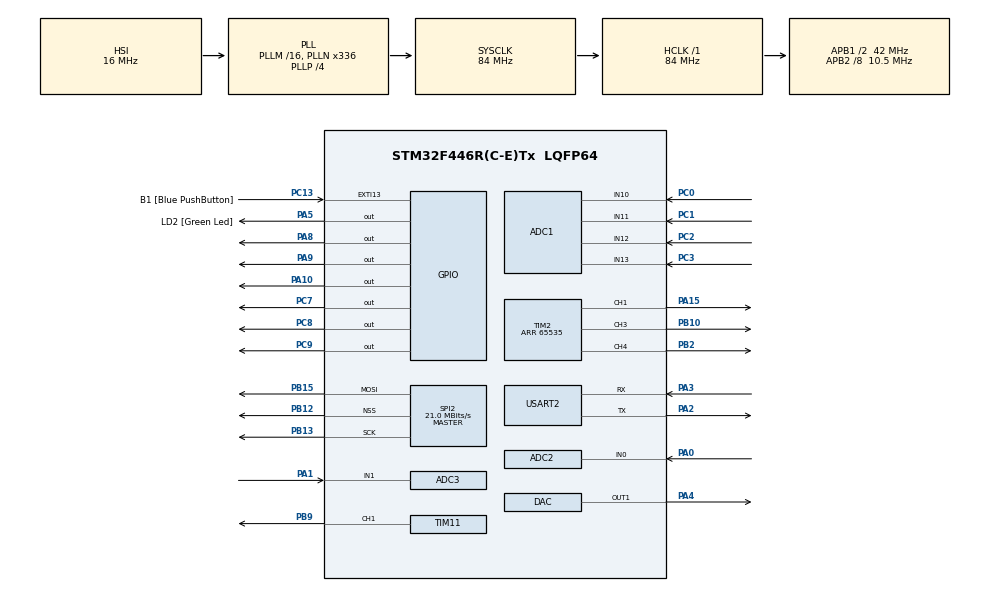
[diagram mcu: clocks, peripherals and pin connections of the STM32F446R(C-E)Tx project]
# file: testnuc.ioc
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ADC1.Channel-0\#ChannelRegularConversion=ADC_CHANNEL_10
ADC1.Channel-4\#ChannelRegularConversion=ADC_CHANNEL_11
ADC1.Channel-5\#ChannelRegularConversion=ADC_CHANNEL_12
ADC1.Channel-6\#ChannelRegularConversion=ADC_CHANNEL_13
ADC1.Channel-7\#ChannelRegularConversion=ADC_CHANNEL_TEMPSENSOR
ADC1.ContinuousConvMode=DISABLE
ADC1.DiscontinuousConvMode=ENABLE
ADC1.InjNumberOfConversion=0
ADC1.NbrOfConversion=5
ADC1.NbrOfConversionFlag=1
ADC1.Rank-4\#ChannelRegularConversion=2
ADC1.Rank-5\#ChannelRegularConversion=3
ADC1.Rank-6\#ChannelRegularConversion=4
ADC1.Rank-7\#ChannelRegularConversion=5
ADC1.SamplingTime-0\#ChannelRegularConversion=ADC_SAMPLETIME_144CYCLES
ADC1.SamplingTime-4\#ChannelRegularConversion=ADC_SAMPLETIME_144CYCLES
ADC1.SamplingTime-5\#ChannelRegularConversion=ADC_SAMPLETIME_3CYCLES
ADC1.SamplingTime-6\#ChannelRegularConversion=ADC_SAMPLETIME_3CYCLES
ADC1.SamplingTime-7\#ChannelRegularConversion=ADC_SAMPLETIME_480CYCLES
ADC1.master=1
ADC2.Channel-0\#ChannelRegularConversion=ADC_CHANNEL_0
ADC2.ClockPrescaler=ADC_CLOCK_SYNC_PCLK_DIV2
ADC2.ContinuousConvMode=ENABLE
ADC2.DMAContinuousRequests=ENABLE
ADC2.NbrOfConversionFlag=1
ADC2.Rank-0\#ChannelRegularConversion=1
ADC2.SamplingTime-0\#ChannelRegularConversion=ADC_SAMPLETIME_28CYCLES
ADC3.Channel-0\#ChannelRegularConversion=ADC_CHANNEL_1
ADC3.NbrOfConversionFlag=1
ADC3.Rank-0\#ChannelRegularConversion=1
ADC3.SamplingTime-0\#ChannelRegularConversion=ADC_SAMPLETIME_3CYCLES
Dma.ADC1.0.Direction=DMA_PERIPH_TO_MEMORY
Dma.ADC1.0.FIFOMode=DMA_FIFOMODE_DISABLE
Dma.ADC1.0.Instance=DMA2_Stream0
Dma.ADC1.0.MemDataAlignment=DMA_MDATAALIGN_WORD
Dma.ADC1.0.MemInc=DMA_MINC_ENABLE
Dma.ADC1.0.Mode=DMA_CIRCULAR
Dma.ADC1.0.PeriphDataAlignment=DMA_PDATAALIGN_WORD
Dma.ADC1.0.PeriphInc=DMA_PINC_DISABLE
Dma.ADC1.0.Priority=DMA_PRIORITY_LOW
Dma.ADC2.1.Direction=DMA_PERIPH_TO_MEMORY
Dma.ADC2.1.FIFOMode=DMA_FIFOMODE_DISABLE
Dma.ADC2.1.Instance=DMA2_Stream2
Dma.ADC2.1.MemDataAlignment=DMA_MDATAALIGN_WORD
Dma.ADC2.1.MemInc=DMA_MINC_ENABLE
Dma.ADC2.1.Mode=DMA_CIRCULAR
Dma.ADC2.1.PeriphDataAlignment=DMA_PDATAALIGN_WORD
Dma.ADC2.1.PeriphInc=DMA_PINC_DISABLE
Dma.ADC2.1.Priority=DMA_PRIORITY_LOW
Dma.Request0=ADC1
Dma.Request1=ADC2
Mcu.Family=STM32F4
Mcu.Name=STM32F446R(C-E)Tx
Mcu.Package=LQFP64
NVIC.DMA2_Stream0_IRQn=true\:0\:0\:false\:false\:true\:false\:true\:true
NVIC.DMA2_Stream2_IRQn=true\:0\:0\:false\:false\:true\:false\:true\:true
NVIC.PriorityGroup=NVIC_PRIORITYGROUP_0
PA0-WKUP.Signal=ADCx_IN0
PA1.Signal=ADCx_IN1
PA10.Signal=GPIO_Output
PA13.GPIO_Label=TMS
PA13.Mode=Serial_Wire
PA13.Signal=SYS_JTMS-SWDIO
PA14.GPIO_Label=TCK
PA14.Mode=Serial_Wire
PA14.Signal=SYS_JTCK-SWCLK
PA15.Signal=S_TIM2_CH1_ETR
PA2.GPIO_ModeDefaultPP=GPIO_MODE_AF_PP
PA2.GPIO_PuPd=GPIO_NOPULL
PA2.GPIO_Speed=GPIO_SPEED_FREQ_VERY_HIGH
PA2.Mode=Asynchronous
PA2.Signal=USART2_TX
PA3.GPIO_ModeDefaultPP=GPIO_MODE_AF_PP
PA3.GPIO_PuPd=GPIO_NOPULL
PA3.GPIO_Speed=GPIO_SPEED_FREQ_VERY_HIGH
PA3.Mode=Asynchronous
PA3.Signal=USART2_RX
PA4.Signal=COMP_DAC1_group
PA5.GPIO_Label=LD2 [Green Led]
PA5.Signal=GPIO_Output
PA8.Signal=GPIO_Output
PA9.Signal=GPIO_Output
PB10.Signal=S_TIM2_CH3
PB12.Mode=NSS_Signal_Hard_Output
PB12.Signal=SPI2_NSS
PB13.Mode=TX_Only_Simplex_Unidirect_Master
PB13.Signal=SPI2_SCK
PB14.Signal=SPI2_MISO
PB15.Mode=TX_Only_Simplex_Unidirect_Master
PB15.Signal=SPI2_MOSI
PB2.Signal=S_TIM2_CH4
PB3.GPIO_Label=SWO
PB3.Signal=SYS_JTDO-SWO
PB9.Signal=S_TIM11_CH1
PC0.Signal=SharedAnalog_PC0
PC1.Signal=SharedAnalog_PC1
PC13.GPIO_Label=B1 [Blue PushButton]
PC13.GPIO_ModeDefaultEXTI=GPIO_MODE_IT_FALLING
PC13.Signal=GPXTI13
PC14-OSC32_IN.Mode=LSE-External-Oscillator
PC14-OSC32_IN.Signal=RCC_OSC32_IN
PC15-OSC32_OUT.Mode=LSE-External-Oscillator
PC15-OSC32_OUT.Signal=RCC_OSC32_OUT
PC2.Signal=ADCx_IN12
PC3.Signal=ADCx_IN13
PC7.Signal=GPIO_Output
PC8.Signal=GPIO_Output
PC9.Signal=GPIO_Output
PH0-OSC_IN.Mode=HSE-External-Oscillator
PH0-OSC_IN.Signal=RCC_OSC_IN
PH1-OSC_OUT.Mode=HSE-External-Oscillator
PH1-OSC_OUT.Signal=RCC_OSC_OUT
ProjectManager.HeapSize=0x200
ProjectManager.StackSize=0x400
ProjectManager.TargetToolchain=STM32CubeIDE
RCC.48MHZClocksFreq_Value=84000000
RCC.AHBFreq_Value=84000000
RCC.APB1CLKDivider=RCC_HCLK_DIV2
RCC.APB1Freq_Value=42000000
RCC.APB1TimFreq_Value=84000000
RCC.APB2CLKDivider=RCC_HCLK_DIV8
RCC.APB2Freq_Value=10500000
RCC.APB2TimFreq_Value=21000000
RCC.CortexFreq_Value=84000000
RCC.FLatency-AdvancedSettings=FLASH_LATENCY_2
RCC.HCLKFreq_Value=84000000
RCC.HSE_VALUE=8000000
RCC.HSI_VALUE=16000000
RCC.PLLN=336
RCC.PLLP=RCC_PLLP_DIV4
RCC.SYSCLKFreq_VALUE=84000000
RCC.SYSCLKSource=RCC_SYSCLKSOURCE_PLLCLK
RCC.USBFreq_Value=168000000
RCC.VCOOutputFreq_Value=336000000
SH.ADCx_IN0.0=ADC2_IN0,IN0
SH.ADCx_IN1.0=ADC3_IN1,IN1
SH.ADCx_IN12.0=ADC1_IN12,IN12
SH.ADCx_IN13.0=ADC1_IN13,IN13
SH.COMP_DAC1_group.0=DAC_OUT1,DAC_OUT1
SH.S_TIM11_CH1.0=TIM11_CH1,PWM Generation1 CH1
SH.S_TIM2_CH1_ETR.0=TIM2_CH1,PWM Generation1 CH1
SH.S_TIM2_CH3.0=TIM2_CH3,PWM Generation3 CH3
SH.S_TIM2_CH4.0=TIM2_CH4,PWM Generation4 CH4
SH.SharedAnalog_PC0.0=GPIO_Analog
SH.SharedAnalog_PC0.1=ADC1_IN10,IN10
SH.SharedAnalog_PC1.0=GPIO_Analog
SH.SharedAnalog_PC1.1=ADC1_IN11,IN11
SPI2.CalculateBaudRate=21.0 MBits/s
SPI2.Direction=SPI_DIRECTION_2LINES
SPI2.Mode=SPI_MODE_MASTER
SPI2.VirtualNSS=VM_NSSHARD
SPI2.VirtualType=VM_MASTER
TIM11.AutoReloadPreload=TIM_AUTORELOAD_PRELOAD_ENABLE
TIM11.Channel=TIM_CHANNEL_1
TIM11.Period=2000
TIM11.Prescaler=71
TIM2.AutoReloadPreload=TIM_AUTORELOAD_PRELOAD_ENABLE
TIM2.Channel-PWM\ Generation1\ CH1=TIM_CHANNEL_1
TIM2.Channel-PWM\ Generation3\ CH3=TIM_CHANNEL_3
TIM2.Channel-PWM\ Generation4\ CH4=TIM_CHANNEL_4
TIM2.Period=65535
USART2.VirtualMode=VM_ASYNC
VP_ADC1_TempSens_Input.Mode=IN-TempSens
VP_ADC1_Vref_Input.Mode=IN-Vrefint
VP_TIM11_VS_ClockSourceINT.Mode=Enable_Timer
board=NUCLEO-F446RE

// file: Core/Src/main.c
/* USER CODE BEGIN Header */
/**
  ******************************************************************************
  * @file           : main.c
  * @brief          : Main program body
  ******************************************************************************
  * @attention
  *
  * Copyright (c) 2025 STMicroelectronics.
  * All rights reserved.
  *
  * This software is licensed under terms that can be found in the LICENSE file
  * in the root directory of this software component.
  * If no LICENSE file comes with this software, it is provided AS-IS.
  *
  ******************************************************************************
  */
/* USER CODE END Header */
#include "main.h"

/* USER CODE BEGIN Includes */
#include <stdio.h>
#include <math.h>
#include "arm_math.h"
#include "toggle_pins.h"
#include "temperature.h"
#include "calculate_angles.h"
// Ensure the USART handle is included
/* USER CODE END Includes */

/* USER CODE BEGIN PTD */
#define MAX_CANDIDATES 10
typedef struct {
    float rsia;
    float rsib;
} RSIValues;
typedef struct {
    float freq_est;   // Przybliżona częstotliwość odbieranego sygnału
    uint16_t dac_setting;  // Nastawienie DAC
    float vco_temp;   // Temperatura VCO
    float amp_1khz;   // Amplituda składowej 1 kHz
    float mean_amp;   // Średnia amplituda składowych
    float ratio;
} Candidate;

Candidate candidate_list[MAX_CANDIDATES];  // Tablica do zapisu
int candidate_count = 0;
uint32_t AD_RES_BUFFER[5];

uint16_t AD_RES = 0;
uint32_t tab[512];
float tab_ADC[FFT_SIZE];
float fft_input[2*FFT_SIZE];
float fft_output[FFT_SIZE ];
float fft_amplitude[FFT_SIZE/2];
float temper;
uint32_t dac_value;

#define FFT_SIZE 512
#define SAMPLE_RATE  128000

#define V25      0.76f  // V25 w Voltach
#define AVG_SLOPE 0.0025f  // 2.5mV/°C = 0.0025 V/°C

#define R25 10000.0f
#define B_COEFFICIENT 3971.0f
#define T25 298.15f
#define VCC 3.3f
#define R_FIXED 10000.0f

#define delta_err 0.0
#define Uoh 2.9f
/* USER CODE END PTD */

ADC_HandleTypeDef hadc1;
ADC_HandleTypeDef hadc2;
ADC_HandleTypeDef hadc3;
DMA_HandleTypeDef hdma_adc1;
DMA_HandleTypeDef hdma_adc2;

DAC_HandleTypeDef hdac;

SPI_HandleTypeDef hspi2;

TIM_HandleTypeDef htim2;
TIM_HandleTypeDef htim11;

UART_HandleTypeDef huart2;

/* USER CODE BEGIN PV */
int _write(int file, char *ptr, int len)
{
    if (HAL_UART_Transmit(&huart2, (uint8_t *)ptr, len, HAL_MAX_DELAY) != HAL_OK)
    {
        return -1;
    }
    return len;
}

/* USER CODE END PV */

void SystemClock_Config(void);
static void MX_GPIO_Init(void);
static void MX_DMA_Init(void);
static void MX_USART2_UART_Init(void);
static void MX_ADC1_Init(void);
static void MX_DAC_Init(void);
static void MX_TIM2_Init(void);
static void MX_ADC2_Init(void);
static void MX_ADC3_Init(void);
static void MX_TIM11_Init(void);
static void MX_SPI2_Init(void);
/* USER CODE BEGIN PFP */
float read_voltage(ADC_HandleTypeDef *hadc, uint32_t channel);
/* USER CODE END PFP */

/* USER CODE BEGIN 0 */
float read_voltage(ADC_HandleTypeDef *hadc, uint32_t channel) {
    ADC_ChannelConfTypeDef sConfig = {0};
    sConfig.Channel = channel;

    sConfig.SamplingTime = ADC_SAMPLETIME_3CYCLES;

    if (HAL_ADC_ConfigChannel(hadc, &sConfig) != HAL_OK) {
        Error_Handler();
    }

    HAL_ADC_Start(hadc);
    if (HAL_ADC_PollForConversion(hadc, HAL_MAX_DELAY) == HAL_OK) {
        uint32_t adcValue = HAL_ADC_GetValue(hadc);
        float voltage = (adcValue * 3.3) / 4096;
        return voltage;
    }
    HAL_ADC_Stop(hadc);

    return 0;
}

RSIValues read_rsi_values_scan(ADC_HandleTypeDef *hadc)
{
    RSIValues results = {0};

    HAL_ADC_Start(hadc);

    // Oczekiwanie na zakończenie konwersji skanowania
    if (HAL_ADC_PollForConversion(hadc, HAL_MAX_DELAY) == HAL_OK)
    {
        // Pierwszy wynik: RSIA (ADC_CHANNEL_10)
        uint32_t adcValue = HAL_ADC_GetValue(hadc);
        results.rsia = (adcValue * 3.3f) / 4095.0f;
    }

    if (HAL_ADC_PollForConversion(hadc, HAL_MAX_DELAY) == HAL_OK)
    {
        // Drugi wynik: RSIB (ADC_CHANNEL_11)
        uint32_t adcValue = HAL_ADC_GetValue(hadc);
        results.rsib = (adcValue * 3.3f) / 4095.0f;
    }

    HAL_ADC_Stop(hadc);

    return results;
}

void perform_fft(void) {
    // Initialize RFFT instance
    arm_rfft_fast_instance_f32 S;
    if (arm_rfft_fast_init_f32(&S, FFT_SIZE) != ARM_MATH_SUCCESS) {
        printf("FFT Initialization Error!\n\r");
        return;
    }

    for (int i = 3;i<FFT_SIZE -3;i++){
    	tab_ADC[i]=(tab_ADC[i-2]+tab_ADC[i-1]+tab_ADC[i]+tab_ADC[i+1]+tab_ADC[i+2])/5;
    }

    arm_rfft_fast_f32(&S, tab_ADC, fft_output, 0);

    arm_cmplx_mag_f32(fft_output, fft_amplitude, FFT_SIZE / 2);

    // Find the dominant frequency
    float max_amplitude = 0.0f;
    uint32_t max_index = 0;
    for (int i = 2; i < FFT_SIZE / 2; i++) {
        if (fft_amplitude[i] > max_amplitude) {
            max_amplitude = fft_amplitude[i];
            max_index = i;
        }
    }
    float amplitude_sum = 0;
    for (int i = 0; i < FFT_SIZE / 2; i++) {
    	amplitude_sum+= fft_amplitude[i];

    }
	float average_amplitude = amplitude_sum/FFT_SIZE;
	printf("Amplitude: %.3f,", max_amplitude/average_amplitude);
    // Compute the dominant frequency
    float dominant_frequency = (float)max_index * SAMPLE_RATE / FFT_SIZE;

    //printf("Dominant Frequency: %.2f Hz,/t Amplitude: %.3f\n\r", dominant_frequency, max_amplitude);
    printf("Max_AMplitude: %.3f,", max_amplitude);
    printf("Frequency: %.3f, ", dominant_frequency);

}

void analyze_fft_results(void) {
    int idx_1khz = (1000 * FFT_SIZE) / SAMPLE_RATE;

    float mean_amp = 0.0f;
    for (int i = 1; i < FFT_SIZE / 2; i++) {
        mean_amp += fft_amplitude[i];
    }
    mean_amp /= (FFT_SIZE / 2 - 1);

    float amp_1khz = fft_amplitude[idx_1khz];
    float ratio = amp_1khz / mean_amp;

    if (candidate_count < MAX_CANDIDATES) {

        candidate_list[candidate_count].freq_est = (float) idx_1khz * SAMPLE_RATE / FFT_SIZE;
        candidate_list[candidate_count].dac_setting = HAL_DAC_GetValue(&hdac, DAC_CHANNEL_1);
        candidate_list[candidate_count].vco_temp = read_voltage(&hadc3, ADC_CHANNEL_1);
        candidate_list[candidate_count].amp_1khz = amp_1khz;
        candidate_list[candidate_count].mean_amp = mean_amp;
        candidate_list[candidate_count].ratio = ratio;
        candidate_count++;
    } else {
        int worst_index = 0;
        float min_ratio = candidate_list[0].ratio;
        for (int i = 1; i < MAX_CANDIDATES; i++) {
            if (candidate_list[i].ratio < min_ratio) {
                min_ratio = candidate_list[i].ratio;
                worst_index = i;
            }
        }

        if (ratio > min_ratio) {
            candidate_list[worst_index].freq_est = (float) idx_1khz * SAMPLE_RATE / FFT_SIZE;
            candidate_list[worst_index].dac_setting = HAL_DAC_GetValue(&hdac, DAC_CHANNEL_1);
            candidate_list[worst_index].vco_temp = read_voltage(&hadc3, ADC_CHANNEL_1);
            candidate_list[worst_index].amp_1khz = amp_1khz;
            candidate_list[worst_index].mean_amp = mean_amp;
            candidate_list[worst_index].ratio = ratio;
        }
    }

    //printf("Lista najlepszych kandydatów:\n\r");
    for (int i = 0; i < candidate_count; i++) {
        /*printf("[%d] f=%.2f Hz, DAC=%d, Temp=%.2f, Amp1kHz=%.2f, MeanAmp=%.2f, R=%.2f\n\r",
               i,
               candidate_list[i].freq_est,
               candidate_list[i].dac_setting,
               candidate_list[i].vco_temp,
               candidate_list[i].amp_1khz,
               candidate_list[i].mean_amp,
               candidate_list[i].ratio);*/
    }
}
void Read_CPU_Temperature_DMA(void) {
    uint32_t rawValue = AD_RES_BUFFER[3];
    //printf("%lu\n\r",AD_RES_BUFFER[3]);
    float v_sense = ((float)rawValue * 3.3f) / 4095.0f;  // Przeliczenie ADC na napięcie
    //printf("v_sense %f.......",v_sense);
    float temperature = ((v_sense - V25) / AVG_SLOPE) + 25.0f;

    //printf("CPU Temp: %.2f°C\n\r", temperature);
    temper=temperature;
}

void Heater_On(void) {
    printf("Grzałka ON\n\r");
    HAL_GPIO_WritePin(GPIOC, GPIO_PIN_12, GPIO_PIN_SET);  // Turn on heater
}

void Heater_Off(void) {
    printf("Grzałka OFF\n\r");
    HAL_GPIO_WritePin(GPIOC, GPIO_PIN_12, GPIO_PIN_RESET);  // Turn off heater
}

float Get_Thermistor_Resistance(float v_out) {
    return R_FIXED * (v_out / (VCC - v_out));
}

float Convert_Resistance_To_Temperature(float r_therm) {
    float temperature_kelvin = B_COEFFICIENT /
        (log(r_therm / R25) + (B_COEFFICIENT / T25));
    return temperature_kelvin - 273.15f;  // Conversion to °C
}

float Read_Thermistor_Temperature(void) {
    float v_out = AD_RES_BUFFER[1] ;
    float v_out1 = 0.9416f*((AD_RES_BUFFER[1] * 3.3f) / 4095.0f);
    float r_therm = Get_Thermistor_Resistance(v_out1);
    float temp_celsius = Convert_Resistance_To_Temperature(r_therm);  // Oblicz temperaturę

    //printf("Vout: %.3fV, Rtherm: %.1fΩ, Temp: %.2f°C\n\r", v_out, r_therm, temp_celsius);

    return temp_celsius;
}

void Control_Heater(void) {
    float current_temp = Read_Thermistor_Temperature();
    float target_temp = temper+2.0f;
    //printf("Current temp: %.2f°C, Target: %.2f°C\n\r", current_temp, target_temp);

    if (current_temp < target_temp) {
        //Heater_On();
    } else {
        //Heater_Off();
    }

}

void Servo_SetAngle(int8_t angle) {
    if (angle < -90) angle = -90;
    if (angle > 90) angle = 90;

    uint16_t pulse = 500 + ((angle * 500) / 90);  // 1.5 ms ± 0.5 ms

    __HAL_TIM_SET_COMPARE(&htim11, TIM_CHANNEL_1, pulse);
	  //HAL_Delay(10000);

}

void Servo_Init() {
    HAL_TIM_PWM_Start(&htim11, TIM_CHANNEL_1);  // Uruchomienie PWM na TIM11_CH1
    Servo_SetAngle(0);  // Start w pozycji neutralnej (0°)
}

/* USER CODE END 0 */

int main(void)
{

  /* MCU Configuration--------------------------------------------------------*/

  /* Reset of all peripherals, Initializes the Flash interface and the Systick. */
  HAL_Init();

  /* Configure the system clock */
  SystemClock_Config();

  /* Initialize all configured peripherals */
  MX_GPIO_Init();
  MX_DMA_Init();
  MX_USART2_UART_Init();
  MX_ADC1_Init();
  MX_DAC_Init();
  MX_TIM2_Init();
  MX_ADC2_Init();
  MX_ADC3_Init();
  MX_TIM11_Init();
  MX_SPI2_Init();

  /* Infinite loop */
  /* USER CODE BEGIN WHILE */
  int32_t test_array[10] = {1, 2, 3, 4, 5, 6, 7, 8, 9, 10};
  int32_t result = 0.0;
  arm_mean_q31(test_array, 10, &result);

  HAL_GPIO_WritePin(GPIOC, GPIO_PIN_7, GPIO_PIN_SET);
  HAL_GPIO_WritePin(GPIOC, GPIO_PIN_8, GPIO_PIN_SET);
  HAL_GPIO_WritePin(GPIOC, GPIO_PIN_9, GPIO_PIN_SET);
  HAL_GPIO_WritePin(GPIOA, GPIO_PIN_9, GPIO_PIN_SET);
  HAL_GPIO_WritePin(GPIOA, GPIO_PIN_8, GPIO_PIN_SET);
  HAL_GPIO_WritePin(GPIOA, GPIO_PIN_10, GPIO_PIN_SET);

  HAL_TIM_PWM_Start(&htim11,TIM_CHANNEL_1);

  dac_value = 1;

  HAL_DAC_Start(&hdac, DAC_CHANNEL_1);  // Włączenie DAC
  //HAL_DAC_SetValue(&hdac, DAC_CHANNEL_1, DAC_ALIGN_12B_R, 1241);  // Ustawienie 1V
  HAL_ADC_Start(&hadc1);
  HAL_ADC_Start_DMA(&hadc2, tab, 512);
  if (HAL_ADC_Start_DMA(&hadc1, AD_RES_BUFFER, 5) != HAL_OK) {
      printf("Błąd startu ADC z DMA!\n\r");
  }
  HAL_ADC_Start_DMA(&hadc1, AD_RES_BUFFER, 5);
  Read_CPU_Temperature_DMA();
  perform_fft();
  Servo_Init();
  while (1)
  {
    /* USER CODE END WHILE */

    /* USER CODE BEGIN 3 */
	  float cos_alpha[4];
	    dac_value++;
	    if(dac_value>4094){
	    	dac_value=1;
	    }
	    HAL_DAC_SetValue(&hdac, DAC_CHANNEL_1, DAC_ALIGN_12B_R, dac_value);
	    //HAL_Deley(1);

	  for (int i =1;i<4;i++){
		  toggle_pins();
		  HAL_ADC_Start_DMA(&hadc1, AD_RES_BUFFER, 5);
		  Read_CPU_Temperature_DMA();
		  printf("DAC:%f,",(dac_value * 3.3f) / 4095.0f);
		  /*printf("ADC CH10: %.2fV,\t CH11: %.2fV,\t CH12: %.2fV,\t CH13: %fV\n\r",
		  	  	  	                           (AD_RES_BUFFER[0] * 3.3f) / 4095.0f,
		  	  	  	                           0.9416f*((AD_RES_BUFFER[1] * 3.3f) / 4095.0f),
		  	  	  	                           (AD_RES_BUFFER[2] * 3.3f) / 4095.0f,
		  	  	  	                           (AD_RES_BUFFER[4] * 3.3f) / 4095.0f);
*/
		  float detector_out = (AD_RES_BUFFER[2] * 3.3f) / 4095.0f;
		  float input = 2.0f * (1.0f - (detector_out / Uoh)) + delta_err;
		  float value = asinf(input);
		  cos_alpha[i]= value;

		  for (int i = 0;i<512;i++){
		  	  		tab_ADC[i]=((tab[i] * 3.3f) / 4095.0f);
		  	  		//printf("%.2f  %.2f\n\r",tab_ADC[i], (tab[1] * 3.3f) / 4095.0f);
		  	  	}

		  perform_fft();
		  analyze_fft_results();
		  printf("\n\r");

	  }
	  AngleResults angle = calculate_angles(cos_alpha);

	  	for (int i = 0;i<512	;i++){
	  		//tab_ADC[i]=((tab[1] * 3.3f) / 4095.0f);
	  		//printf("%.2f  \n\r",tab_ADC[i]);
	  	}

	  	Control_Heater();

	  	//DAC AD5641???
	  	uint8_t spi_data[2] = {0x13, 0x66}; // Example data
	  	HAL_SPI_Transmit(&hspi2, spi_data, 2, 100);

  }
  /* USER CODE END 3 */
}

void SystemClock_Config(void)
{
  RCC_OscInitTypeDef RCC_OscInitStruct = {0};
  RCC_ClkInitTypeDef RCC_ClkInitStruct = {0};

  /** Configure the main internal regulator output voltage
  */
  __HAL_RCC_PWR_CLK_ENABLE();
  __HAL_PWR_VOLTAGESCALING_CONFIG(PWR_REGULATOR_VOLTAGE_SCALE3);

  /** Initializes the RCC Oscillators according to the specified parameters
  * in the RCC_OscInitTypeDef structure.
  */
  RCC_OscInitStruct.OscillatorType = RCC_OSCILLATORTYPE_HSI;
  RCC_OscInitStruct.HSIState = RCC_HSI_ON;
  RCC_OscInitStruct.HSICalibrationValue = RCC_HSICALIBRATION_DEFAULT;
  RCC_OscInitStruct.PLL.PLLState = RCC_PLL_ON;
  RCC_OscInitStruct.PLL.PLLSource = RCC_PLLSOURCE_HSI;
  RCC_OscInitStruct.PLL.PLLM = 16;
  RCC_OscInitStruct.PLL.PLLN = 336;
  RCC_OscInitStruct.PLL.PLLP = RCC_PLLP_DIV4;
  RCC_OscInitStruct.PLL.PLLQ = 2;
  RCC_OscInitStruct.PLL.PLLR = 2;
  if (HAL_RCC_OscConfig(&RCC_OscInitStruct) != HAL_OK)
  {
    Error_Handler();
  }

  /** Initializes the CPU, AHB and APB buses clocks
  */
  RCC_ClkInitStruct.ClockType = RCC_CLOCKTYPE_HCLK|RCC_CLOCKTYPE_SYSCLK
                              |RCC_CLOCKTYPE_PCLK1|RCC_CLOCKTYPE_PCLK2;
  RCC_ClkInitStruct.SYSCLKSource = RCC_SYSCLKSOURCE_PLLCLK;
  RCC_ClkInitStruct.AHBCLKDivider = RCC_SYSCLK_DIV1;
  RCC_ClkInitStruct.APB1CLKDivider = RCC_HCLK_DIV2;
  RCC_ClkInitStruct.APB2CLKDivider = RCC_HCLK_DIV8;

  if (HAL_RCC_ClockConfig(&RCC_ClkInitStruct, FLASH_LATENCY_2) != HAL_OK)
  {
    Error_Handler();
  }
}

static void MX_ADC1_Init(void)
{

  ADC_ChannelConfTypeDef sConfig = {0};

  /** Configure the global features of the ADC (Clock, Resolution, Data Alignment and number of conversion)
  */
  hadc1.Instance = ADC1;
  hadc1.Init.ClockPrescaler = ADC_CLOCK_SYNC_PCLK_DIV2;
  hadc1.Init.Resolution = ADC_RESOLUTION_12B;
  hadc1.Init.ScanConvMode = ENABLE;
  hadc1.Init.ContinuousConvMode = DISABLE;
  hadc1.Init.DiscontinuousConvMode = ENABLE;
  hadc1.Init.NbrOfDiscConversion = 1;
  hadc1.Init.ExternalTrigConvEdge = ADC_EXTERNALTRIGCONVEDGE_NONE;
  hadc1.Init.ExternalTrigConv = ADC_SOFTWARE_START;
  hadc1.Init.DataAlign = ADC_DATAALIGN_RIGHT;
  hadc1.Init.NbrOfConversion = 5;
  hadc1.Init.DMAContinuousRequests = DISABLE;
  hadc1.Init.EOCSelection = ADC_EOC_SINGLE_CONV;
  if (HAL_ADC_Init(&hadc1) != HAL_OK)
  {
    Error_Handler();
  }

  /** Configure for the selected ADC regular channel its corresponding rank in the sequencer and its sample time.
  */
  sConfig.Channel = ADC_CHANNEL_10;
  sConfig.Rank = 1;
  sConfig.SamplingTime = ADC_SAMPLETIME_144CYCLES;
  if (HAL_ADC_ConfigChannel(&hadc1, &sConfig) != HAL_OK)
  {
    Error_Handler();
  }

  /** Configure for the selected ADC regular channel its corresponding rank in the sequencer and its sample time.
  */
  sConfig.Channel = ADC_CHANNEL_11;
  sConfig.Rank = 2;
  if (HAL_ADC_ConfigChannel(&hadc1, &sConfig) != HAL_OK)
  {
    Error_Handler();
  }

  /** Configure for the selected ADC regular channel its corresponding rank in the sequencer and its sample time.
  */
  sConfig.Channel = ADC_CHANNEL_12;
  sConfig.Rank = 3;
  sConfig.SamplingTime = ADC_SAMPLETIME_3CYCLES;
  if (HAL_ADC_ConfigChannel(&hadc1, &sConfig) != HAL_OK)
  {
    Error_Handler();
  }

  /** Configure for the selected ADC regular channel its corresponding rank in the sequencer and its sample time.
  */
  sConfig.Channel = ADC_CHANNEL_13;
  sConfig.Rank = 4;
  if (HAL_ADC_ConfigChannel(&hadc1, &sConfig) != HAL_OK)
  {
    Error_Handler();
  }

  /** Configure for the selected ADC regular channel its corresponding rank in the sequencer and its sample time.
  */
  sConfig.Channel = ADC_CHANNEL_TEMPSENSOR;
  sConfig.Rank = 5;
  sConfig.SamplingTime = ADC_SAMPLETIME_480CYCLES;
  if (HAL_ADC_ConfigChannel(&hadc1, &sConfig) != HAL_OK)
  {
    Error_Handler();
  }

}

static void MX_ADC2_Init(void)
{

  ADC_ChannelConfTypeDef sConfig = {0};

  /** Configure the global features of the ADC (Clock, Resolution, Data Alignment and number of conversion)
  */
  hadc2.Instance = ADC2;
  hadc2.Init.ClockPrescaler = ADC_CLOCK_SYNC_PCLK_DIV2;
  hadc2.Init.Resolution = ADC_RESOLUTION_12B;
  hadc2.Init.ScanConvMode = DISABLE;
  hadc2.Init.ContinuousConvMode = ENABLE;
  hadc2.Init.DiscontinuousConvMode = DISABLE;
  hadc2.Init.ExternalTrigConvEdge = ADC_EXTERNALTRIGCONVEDGE_NONE;
  hadc2.Init.ExternalTrigConv = ADC_SOFTWARE_START;
  hadc2.Init.DataAlign = ADC_DATAALIGN_RIGHT;
  hadc2.Init.NbrOfConversion = 1;
  hadc2.Init.DMAContinuousRequests = ENABLE;
  hadc2.Init.EOCSelection = ADC_EOC_SINGLE_CONV;
  if (HAL_ADC_Init(&hadc2) != HAL_OK)
  {
    Error_Handler();
  }

  /** Configure for the selected ADC regular channel its corresponding rank in the sequencer and its sample time.
  */
  sConfig.Channel = ADC_CHANNEL_0;
  sConfig.Rank = 1;
  sConfig.SamplingTime = ADC_SAMPLETIME_28CYCLES;
  if (HAL_ADC_ConfigChannel(&hadc2, &sConfig) != HAL_OK)
  {
    Error_Handler();
  }

}

static void MX_ADC3_Init(void)
{

  ADC_ChannelConfTypeDef sConfig = {0};

  /** Configure the global features of the ADC (Clock, Resolution, Data Alignment and number of conversion)
  */
  hadc3.Instance = ADC3;
  hadc3.Init.ClockPrescaler = ADC_CLOCK_SYNC_PCLK_DIV2;
  hadc3.Init.Resolution = ADC_RESOLUTION_12B;
  hadc3.Init.ScanConvMode = DISABLE;
  hadc3.Init.ContinuousConvMode = DISABLE;
  hadc3.Init.DiscontinuousConvMode = DISABLE;
  hadc3.Init.ExternalTrigConvEdge = ADC_EXTERNALTRIGCONVEDGE_NONE;
  hadc3.Init.ExternalTrigConv = ADC_SOFTWARE_START;
  hadc3.Init.DataAlign = ADC_DATAALIGN_RIGHT;
  hadc3.Init.NbrOfConversion = 1;
  hadc3.Init.DMAContinuousRequests = DISABLE;
  hadc3.Init.EOCSelection = ADC_EOC_SINGLE_CONV;
  if (HAL_ADC_Init(&hadc3) != HAL_OK)
  {
    Error_Handler();
  }

  /** Configure for the selected ADC regular channel its corresponding rank in the sequencer and its sample time.
  */
  sConfig.Channel = ADC_CHANNEL_1;
  sConfig.Rank = 1;
  sConfig.SamplingTime = ADC_SAMPLETIME_3CYCLES;
  if (HAL_ADC_ConfigChannel(&hadc3, &sConfig) != HAL_OK)
  {
    Error_Handler();
  }

}

static void MX_DAC_Init(void)
{

  DAC_ChannelConfTypeDef sConfig = {0};

  /** DAC Initialization
  */
  hdac.Instance = DAC;
  if (HAL_DAC_Init(&hdac) != HAL_OK)
  {
    Error_Handler();
  }

  /** DAC channel OUT1 config
  */
  sConfig.DAC_Trigger = DAC_TRIGGER_NONE;
  sConfig.DAC_OutputBuffer = DAC_OUTPUTBUFFER_ENABLE;
  if (HAL_DAC_ConfigChannel(&hdac, &sConfig, DAC_CHANNEL_1) != HAL_OK)
  {
    Error_Handler();
  }

}

static void MX_SPI2_Init(void)
{

  /* SPI2 parameter configuration*/
  hspi2.Instance = SPI2;
  hspi2.Init.Mode = SPI_MODE_MASTER;
  hspi2.Init.Direction = SPI_DIRECTION_2LINES;
  hspi2.Init.DataSize = SPI_DATASIZE_8BIT;
  hspi2.Init.CLKPolarity = SPI_POLARITY_LOW;
  hspi2.Init.CLKPhase = SPI_PHASE_1EDGE;
  hspi2.Init.NSS = SPI_NSS_HARD_OUTPUT;
  hspi2.Init.BaudRatePrescaler = SPI_BAUDRATEPRESCALER_2;
  hspi2.Init.FirstBit = SPI_FIRSTBIT_MSB;
  hspi2.Init.TIMode = SPI_TIMODE_DISABLE;
  hspi2.Init.CRCCalculation = SPI_CRCCALCULATION_DISABLE;
  hspi2.Init.CRCPolynomial = 10;
  if (HAL_SPI_Init(&hspi2) != HAL_OK)
  {
    Error_Handler();
  }

}

static void MX_TIM2_Init(void)
{

  TIM_MasterConfigTypeDef sMasterConfig = {0};
  TIM_OC_InitTypeDef sConfigOC = {0};

  htim2.Instance = TIM2;
  htim2.Init.Prescaler = 0;
  htim2.Init.CounterMode = TIM_COUNTERMODE_UP;
  htim2.Init.Period = 65535;
  htim2.Init.ClockDivision = TIM_CLOCKDIVISION_DIV1;
  htim2.Init.AutoReloadPreload = TIM_AUTORELOAD_PRELOAD_ENABLE;
  if (HAL_TIM_PWM_Init(&htim2) != HAL_OK)
  {
    Error_Handler();
  }
  sMasterConfig.MasterOutputTrigger = TIM_TRGO_RESET;
  sMasterConfig.MasterSlaveMode = TIM_MASTERSLAVEMODE_DISABLE;
  if (HAL_TIMEx_MasterConfigSynchronization(&htim2, &sMasterConfig) != HAL_OK)
  {
    Error_Handler();
  }
  sConfigOC.OCMode = TIM_OCMODE_PWM1;
  sConfigOC.Pulse = 0;
  sConfigOC.OCPolarity = TIM_OCPOLARITY_HIGH;
  sConfigOC.OCFastMode = TIM_OCFAST_DISABLE;
  if (HAL_TIM_PWM_ConfigChannel(&htim2, &sConfigOC, TIM_CHANNEL_1) != HAL_OK)
  {
    Error_Handler();
  }
  if (HAL_TIM_PWM_ConfigChannel(&htim2, &sConfigOC, TIM_CHANNEL_3) != HAL_OK)
  {
    Error_Handler();
  }
  if (HAL_TIM_PWM_ConfigChannel(&htim2, &sConfigOC, TIM_CHANNEL_4) != HAL_OK)
  {
    Error_Handler();
  }
  HAL_TIM_MspPostInit(&htim2);

}

static void MX_TIM11_Init(void)
{

  TIM_OC_InitTypeDef sConfigOC = {0};

  htim11.Instance = TIM11;
  htim11.Init.Prescaler = 71;
  htim11.Init.CounterMode = TIM_COUNTERMODE_UP;
  htim11.Init.Period = 2000;
  htim11.Init.ClockDivision = TIM_CLOCKDIVISION_DIV1;
  htim11.Init.AutoReloadPreload = TIM_AUTORELOAD_PRELOAD_ENABLE;
  if (HAL_TIM_Base_Init(&htim11) != HAL_OK)
  {
    Error_Handler();
  }
  if (HAL_TIM_PWM_Init(&htim11) != HAL_OK)
  {
    Error_Handler();
  }
  sConfigOC.OCMode = TIM_OCMODE_PWM1;
  sConfigOC.Pulse = 0;
  sConfigOC.OCPolarity = TIM_OCPOLARITY_HIGH;
  sConfigOC.OCFastMode = TIM_OCFAST_DISABLE;
  if (HAL_TIM_PWM_ConfigChannel(&htim11, &sConfigOC, TIM_CHANNEL_1) != HAL_OK)
  {
    Error_Handler();
  }
  HAL_TIM_MspPostInit(&htim11);

}

static void MX_USART2_UART_Init(void)
{

  huart2.Instance = USART2;
  huart2.Init.BaudRate = 115200;
  huart2.Init.WordLength = UART_WORDLENGTH_8B;
  huart2.Init.StopBits = UART_STOPBITS_1;
  huart2.Init.Parity = UART_PARITY_NONE;
  huart2.Init.Mode = UART_MODE_TX_RX;
  huart2.Init.HwFlowCtl = UART_HWCONTROL_NONE;
  huart2.Init.OverSampling = UART_OVERSAMPLING_16;
  if (HAL_UART_Init(&huart2) != HAL_OK)
  {
    Error_Handler();
  }

}

static void MX_DMA_Init(void)
{

  /* DMA controller clock enable */
  __HAL_RCC_DMA2_CLK_ENABLE();

  /* DMA interrupt init */
  /* DMA2_Stream0_IRQn interrupt configuration */
  HAL_NVIC_SetPriority(DMA2_Stream0_IRQn, 0, 0);
  HAL_NVIC_EnableIRQ(DMA2_Stream0_IRQn);
  /* DMA2_Stream2_IRQn interrupt configuration */
  HAL_NVIC_SetPriority(DMA2_Stream2_IRQn, 0, 0);
  HAL_NVIC_EnableIRQ(DMA2_Stream2_IRQn);

}

static void MX_GPIO_Init(void)
{
  GPIO_InitTypeDef GPIO_InitStruct = {0};

  /* GPIO Ports Clock Enable */
  __HAL_RCC_GPIOC_CLK_ENABLE();
  __HAL_RCC_GPIOH_CLK_ENABLE();
  __HAL_RCC_GPIOA_CLK_ENABLE();
  __HAL_RCC_GPIOB_CLK_ENABLE();

  /*Configure GPIO pin Output Level */
  HAL_GPIO_WritePin(GPIOA, LD2_Pin|GPIO_PIN_8|GPIO_PIN_9|GPIO_PIN_10, GPIO_PIN_RESET);

  /*Configure GPIO pin Output Level */
  HAL_GPIO_WritePin(GPIOC, GPIO_PIN_7|GPIO_PIN_8|GPIO_PIN_9, GPIO_PIN_RESET);

  /*Configure GPIO pin : B1_Pin */
  GPIO_InitStruct.Pin = B1_Pin;
  GPIO_InitStruct.Mode = GPIO_MODE_IT_FALLING;
  GPIO_InitStruct.Pull = GPIO_NOPULL;
  HAL_GPIO_Init(B1_GPIO_Port, &GPIO_InitStruct);

  /*Configure GPIO pins : LD2_Pin PA8 PA9 PA10 */
  GPIO_InitStruct.Pin = LD2_Pin|GPIO_PIN_8|GPIO_PIN_9|GPIO_PIN_10;
  GPIO_InitStruct.Mode = GPIO_MODE_OUTPUT_PP;
  GPIO_InitStruct.Pull = GPIO_NOPULL;
  GPIO_InitStruct.Speed = GPIO_SPEED_FREQ_LOW;
  HAL_GPIO_Init(GPIOA, &GPIO_InitStruct);

  /*Configure GPIO pins : PC7 PC8 PC9 */
  GPIO_InitStruct.Pin = GPIO_PIN_7|GPIO_PIN_8|GPIO_PIN_9;
  GPIO_InitStruct.Mode = GPIO_MODE_OUTPUT_PP;
  GPIO_InitStruct.Pull = GPIO_NOPULL;
  GPIO_InitStruct.Speed = GPIO_SPEED_FREQ_LOW;
  HAL_GPIO_Init(GPIOC, &GPIO_InitStruct);

}

void Error_Handler(void)
{
  __disable_irq();
  while (1)
  {
  }
}
